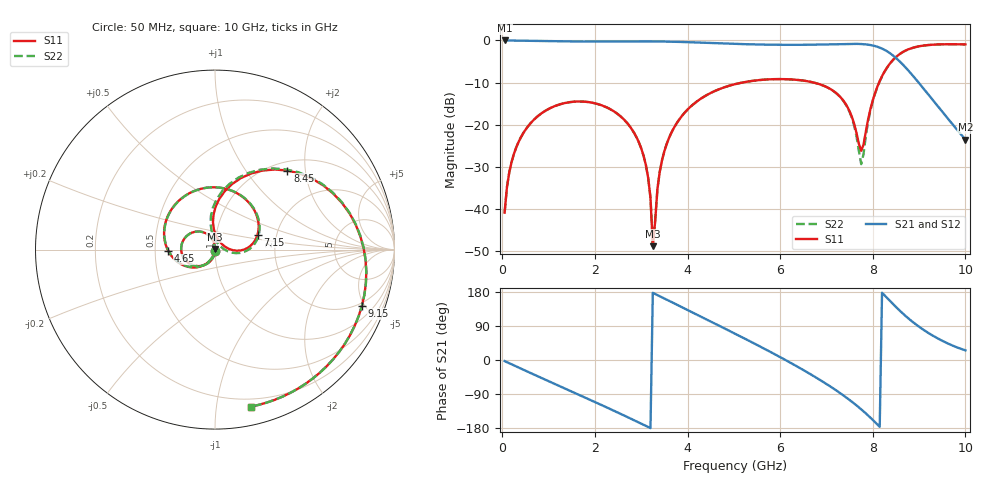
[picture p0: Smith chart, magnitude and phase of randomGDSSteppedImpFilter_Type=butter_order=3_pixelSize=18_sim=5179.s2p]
! freq	dB(S11)	phase(S11)	dB(S12)	phase(S12)
!  dB(S21)	phase(S21)	dB(S22)	phase(S22)
!S-par simulation data
#  GHz  S  DB  R 50
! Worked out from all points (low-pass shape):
!   200 points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, 50 MHz to 10 GHz, reference 50 ohm
!   highest |S21| = -0.01 dB at 50 MHz (marker M1); lowest = -23.5 dB at 10 GHz (marker M2)
!   |S21| within 3 dB of the highest: start of sweep to 8.367 GHz
!   lowest |S11| = -48.8 dB at 3.25 GHz (marker M3), VSWR 1.01, Z = 49.9 + j0.338 ohm
!   |S11| at or under -10 dB: start of sweep to 5.181 GHz; 6.725 GHz to 8.136 GHz (1.411 GHz wide, 19 % of centre)
!   |S22| runs from -48.2 to -0.9 dB; largest |S21 - S12| = 0
!   S11 on the Smith chart (normalised r, x): 50 MHz: 1.00, -0.02; 4.65 GHz: 0.59, -0.01; 7.15 GHz: 1.59, +0.28; 8.45 GHz: 1.17, +1.60; 9.15 GHz: 1.76, -4.77; 10 GHz: 0.14, -1.24
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0.05  -40.86 -92.4  -0.01 -2.9  -0.01 -2.9  -40.86 -92.4
0.2  -28.87 -101.2  -0.03 -11.3  -0.03 -11.3  -28.87 -101.2
0.5  -21.21 -118.3  -0.07 -28.2  -0.07 -28.2  -21.21 -118.3
1.75  -14.51 172.3  -0.27 -97.1  -0.27 -97.1  -14.51 172.3
2.9  -23.02 108.2  -0.23 -162.1  -0.23 -162.1  -23.02 108.4
3.15  -32.59 95.5  -0.23 -176.8  -0.23 -176.8  -32.59 96.7
3.25  -48.83 110.7  -0.24 177.3  -0.24 177.3  -48.24 120.2
3.4  -31.18 -104.8  -0.25 168.3  -0.25 168.3  -31.15 -106.4
3.8  -19.09 -126.9  -0.34 144.2  -0.34 144.2  -19.08 -127.6
4.65  -11.72 -177.9  -0.67 92.4  -0.67 92.4  -11.72 -178.6
5.05  -10.31 157.8  -0.83 67.9  -0.83 67.9  -10.31 156.9
5.95  -9.17 101.3  -1.03 10.9  -1.03 10.9  -9.17 100.0
6.7  -9.93 51.0  -1.01 -40.7  -1.01 -40.7  -9.94 49.1
7.15  -11.99 19.4  -0.91 -75.2  -0.91 -75.2  -12.02 16.4
7.55  -18.18 -2.9  -0.81 -110.2  -0.81 -110.2  -18.43 -9.6
7.75  -26.20 41.3  -0.86 -130.1  -0.86 -130.1  -29.36 37.5
8  -14.21 92.4  -1.20 -158.1  -1.20 -158.1  -14.42 96.8
8.35  -5.78 59.0  -2.87 158.5  -2.87 158.5  -5.82 60.5
8.45  -4.48 47.5  -3.69 146.1  -3.69 146.1  -4.50 48.7
8.8  -1.98 9.9  -7.54 106.6  -7.54 106.6  -1.99 10.5
9.15  -1.15 -21.0  -12.15 75.3  -12.15 75.3  -1.15 -20.7
10  -0.94 -77.1  -23.52 25.5  -23.52 25.5  -0.94 -77.0
